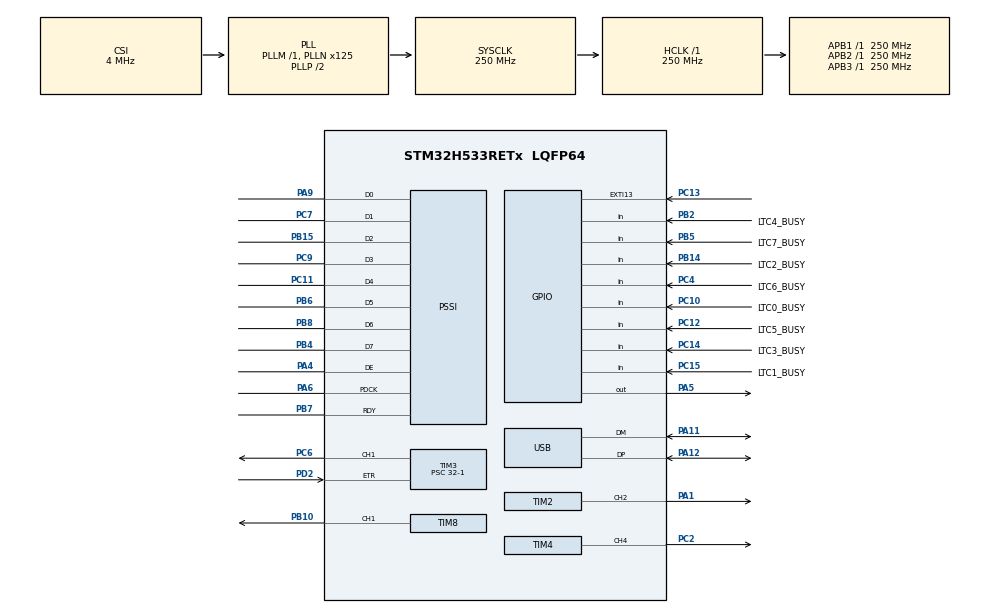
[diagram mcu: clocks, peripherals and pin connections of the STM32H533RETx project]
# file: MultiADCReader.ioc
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BOOTPATH.BootPathName=LEGACY
BOOTPATH.UserSelectedBootPath=LEGACY
CORTEX_M33_NS.userName=CORTEX_M33
GPDMA1.CIRCULARMODE_GPDMACH7=DISABLE
GPDMA1.IPHANDLE_GPDMACH7-SIMPLEREQUEST_GPDMACH7=IPHANDLE
GPDMA1.REQUEST_GPDMACH7=DMA_REQUEST_SW
Mcu.Family=STM32H5
Mcu.Name=STM32H533RETx
Mcu.Package=LQFP64
NVIC.GPDMA1_Channel7_IRQn=true\:0\:0\:false\:false\:true\:false\:true\:true
NVIC.PriorityGroup=NVIC_PRIORITYGROUP_4
NVIC.TIM2_IRQn=true\:0\:0\:false\:false\:true\:true\:true\:true
NVIC.USB_DRD_FS_IRQn=true\:1\:0\:true\:false\:true\:true\:true\:true
PA1.GPIO_Speed=GPIO_SPEED_FREQ_HIGH
PA1.Signal=S_TIM2_CH2
PA11.Mode=Device
PA11.Signal=USB_DM
PA12.Mode=Device
PA12.Signal=USB_DP
PA13(JTMS/SWDIO).GPIO_Label=SWDIO
PA13(JTMS/SWDIO).Signal=DEBUG_JTMS-SWDIO
PA14(JTCK/SWCLK).GPIO_Label=SWCLK
PA14(JTCK/SWCLK).Signal=DEBUG_JTCK-SWCLK
PA15(JTDI).GPIO_Label=JTDI
PA15(JTDI).Signal=DEBUG_JTDI
PA2.Signal=USART2_TX
PA3.Signal=USART2_RX
PA4.Mode=PSSI_8
PA4.Signal=PSSI_DE
PA5.Signal=GPIO_Output
PA6.GPIO_PuPd=GPIO_NOPULL
PA6.GPIO_Speed=GPIO_SPEED_FREQ_VERY_HIGH
PA6.Mode=PSSI_8
PA6.Signal=PSSI_PDCK
PA9.GPIO_Speed=GPIO_SPEED_FREQ_VERY_HIGH
PA9.Mode=PSSI_8
PA9.Signal=PSSI_D0
PB10.GPIO_PuPd=GPIO_NOPULL
PB10.GPIO_Speed=GPIO_SPEED_FREQ_VERY_HIGH
PB10.Signal=S_TIM8_CH1
PB14.GPIO_Label=LTC2_BUSY
PB14.Signal=GPIO_Input
PB15.GPIO_Speed=GPIO_SPEED_FREQ_VERY_HIGH
PB15.Mode=PSSI_8
PB15.Signal=PSSI_D2
PB2.GPIO_Label=LTC4_BUSY
PB2.Signal=GPIO_Input
PB3(JTDO/TRACESWO).GPIO_Label=SWO
PB3(JTDO/TRACESWO).Signal=DEBUG_JTDO-SWO
PB4(NJTRST).GPIO_Speed=GPIO_SPEED_FREQ_VERY_HIGH
PB4(NJTRST).Mode=PSSI_8
PB4(NJTRST).Signal=PSSI_D7
PB5.GPIO_Label=LTC7_BUSY
PB5.Signal=GPIO_Input
PB6.GPIO_FM6=SBS_FASTMODEPLUS_PB6
PB6.GPIO_Speed=GPIO_SPEED_FREQ_VERY_HIGH
PB6.Mode=PSSI_8
PB6.Signal=PSSI_D5
PB7.GPIO_FM7=SBS_FASTMODEPLUS_PB7
PB7.GPIO_Speed=GPIO_SPEED_FREQ_LOW
PB7.Mode=PSSI_8
PB7.Signal=PSSI_RDY
PB8.GPIO_FM8=SBS_FASTMODEPLUS_PB8
PB8.GPIO_Speed=GPIO_SPEED_FREQ_VERY_HIGH
PB8.Mode=PSSI_8
PB8.Signal=PSSI_D6
PC10.GPIO_Label=LTC0_BUSY
PC10.Signal=GPIO_Input
PC11.GPIO_Speed=GPIO_SPEED_FREQ_VERY_HIGH
PC11.Mode=PSSI_8
PC11.Signal=PSSI_D4
PC12.GPIO_Label=LTC5_BUSY
PC12.Signal=GPIO_Input
PC13.Signal=GPXTI13
PC14-OSC32_IN(OSC32_IN).GPIO_Label=LTC3_BUSY
PC14-OSC32_IN(OSC32_IN).Signal=GPIO_Input
PC15-OSC32_OUT(OSC32_OUT).GPIO_Label=LTC1_BUSY
PC15-OSC32_OUT(OSC32_OUT).Signal=GPIO_Input
PC2.Signal=S_TIM4_CH4
PC4.GPIO_Label=LTC6_BUSY
PC4.Signal=GPIO_Input
PC6.Signal=S_TIM3_CH1
PC7.GPIO_Speed=GPIO_SPEED_FREQ_VERY_HIGH
PC7.Mode=PSSI_8
PC7.Signal=PSSI_D1
PC9.GPIO_Speed=GPIO_SPEED_FREQ_VERY_HIGH
PC9.Mode=PSSI_8
PC9.Signal=PSSI_D3
PD2.Signal=S_TIM3_ETR
PSSI.BusWidth=HAL_PSSI_8LINES
ProjectManager.HeapSize=0x200
ProjectManager.StackSize=0x400
ProjectManager.TargetToolchain=STM32CubeIDE
RCC.ADCFreq_Value=250000000
RCC.AHBFreq_Value=250000000
RCC.APB1Freq_Value=250000000
RCC.APB1TimFreq_Value=250000000
RCC.APB2Freq_Value=250000000
RCC.APB2TimFreq_Value=250000000
RCC.APB3Freq_Value=250000000
RCC.CSI_VALUE=4000000
RCC.CortexFreq_Value=250000000
RCC.EPOD_VALUE=4000000
RCC.HCLKFreq_Value=250000000
RCC.HSE_VALUE=25000000
RCC.HSI48_VALUE=48000000
RCC.HSIDiv=RCC_HSI_DIV1
RCC.HSI_VALUE=64000000
RCC.LSE_VALUE=32768
RCC.LSIRC_VALUE=32000
RCC.PLL2FRACN=0
RCC.PLL3FRACN=0
RCC.PLLFRACN=0
RCC.PLLN=125
RCC.SYSCLKFreq_VALUE=250000000
RCC.SYSCLKSource=RCC_SYSCLKSOURCE_PLLCLK
RCC.USBFreq_Value=48000000
RCC.VCOOutputFreq_Value=500000000
SH.S_TIM2_CH2.0=TIM2_CH2,Output Compare2 CH2
SH.S_TIM3_CH1.0=TIM3_CH1,Output Compare1 CH1
SH.S_TIM3_ETR.0=TIM3_ETR,ClockSourceETR_Mode2
SH.S_TIM4_CH4.0=TIM4_CH4,PWM Generation4 CH4
SH.S_TIM8_CH1.0=TIM8_CH1,PWM Generation1 CH1
TIM2.Channel-Output\ Compare2\ CH2=TIM_CHANNEL_2
TIM2.OCMode_2=TIM_OCMODE_RETRIGERRABLE_OPM2
TIM2.PeriodNoDither=250
TIM2.Prescaler=0
TIM2.PulseNoDither_2=125
TIM2.TIM_MasterSlaveMode=TIM_MASTERSLAVEMODE_ENABLE
TIM3.Channel-Output\ Compare1\ CH1=TIM_CHANNEL_1
TIM3.PeriodNoDither=1000-1
TIM3.Prescaler=32-1
TIM3.TIM_MasterOutputTrigger=TIM_TRGO_UPDATE
TIM3.TIM_MasterSlaveMode=TIM_MASTERSLAVEMODE_ENABLE
TIM4.Channel-PWM\ Generation4\ CH4=TIM_CHANNEL_4
TIM4.OCMode_PWM-PWM\ Generation4\ CH4=TIM_OCMODE_PWM2
TIM4.PeriodNoDither=20
TIM4.PulseNoDither_4=1
TIM4.TIM_MasterOutputTrigger=TIM_TRGO_ENABLE
TIM4.TIM_MasterSlaveMode=TIM_MASTERSLAVEMODE_ENABLE
TIM8.Channel-PWM\ Generation1\ CH1=TIM_CHANNEL_1
TIM8.OCIdleState_1=TIM_OCIDLESTATE_SET
TIM8.OCMode_PWM-PWM\ Generation1\ CH1=TIM_OCMODE_PWM1
TIM8.PeriodNoDither=2
TIM8.Prescaler=2
TIM8.PulseNoDither_1=1
TIM8.RepetitionCounter=15
TIM8.TIM_MasterOutputTrigger=TIM_TRGO_ENABLE
TIM8.TIM_MasterOutputTrigger2=TIM_TRGO2_RESET
TIM8.TIM_MasterSlaveMode=TIM_MASTERSLAVEMODE_ENABLE
USB.VirtualMode=Device_Only
USBX.BSP.number=1
USBX.Core_System=1
USBX.USBD_CDCACM_EPIN_ADDR=2
USBX.USBD_CDCACM_EPOUT_ADDR=3
USBX.USBX_DEVICE_SYS_SIZE=10*1024
USBX.UX_DEVICE_APP_MEM_POOL_SIZE_STANDALONE=10*1024
USBX.UX_DEVICE_CDC_ACM=1
USBX.UX_Device_Controller=1
USBX.UX_Device_CoreStack=1
USBX0.BSP.STBoard=false
USBX0.BSP.api=Unknown
USBX0.BSP.instance=USB
USBX0.BSP.ip=USB
USBX0.BSP.mode=Device_Only
USBX0.BSP.name=USB_Device
USBX0.BSP.solution=USB
VP_BOOTPATH_VS_BOOTPATH.Mode=BP_Activate
VP_CORTEX_M33_NS_VS_Hclk.Mode=Hclk_Mode
VP_GPDMA1_VS_GPDMACH7.Mode=SIMPLEREQUEST_GPDMACH7
VP_ICACHE_VS_ENABLE_ICACHE_MEMORY.Mode=Memoryregions
VP_ICACHE_VS_ICACHE.Mode=DirectMappedCache
VP_MEMORYMAP_VS_MEMORYMAP.Mode=CurAppReg
VP_PWR_VS_LPOM.Mode=PowerOptimisation
VP_PWR_VS_SECSignals.Mode=Security/Privilege
VP_RCC_USB.Mode=CRS SYNC Source USB
VP_TIM2_VS_ClockSourceITR.Mode=TriggerSource_ITR2
VP_TIM2_VS_ControllerModeTrigger.Mode=Trigger Mode
VP_TIM2_VS_OPM.Mode=OPM_bit
VP_TIM4_VS_OPM.Mode=OPM_bit
VP_TIM8_VS_ClockSourceITR.Mode=TriggerSource_ITR3
VP_TIM8_VS_ControllerModeTrigger.Mode=Trigger Mode
VP_TIM8_VS_OPM.Mode=OPM_bit
VP_USBX_Core_System.Mode=Core_System
VP_USBX_UX\ Device\ CDC\ ACM\ Class_FS.Mode=UX_Device_class_CDC_ACM_FS
VP_USBX_UX\ Device\ Controller_FS.Mode=UX_Device_Controller_FS
VP_USBX_UX\ Device\ CoreStack_FS.Mode=UX_Device_CoreStack_FS
board=NUCLEO-H533RE

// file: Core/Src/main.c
/* USER CODE BEGIN Header */
/**
  ******************************************************************************
  * @file           : main.c
  * @brief          : Main program body
  ******************************************************************************
  * @attention
  *
  * Copyright (c) 2025 STMicroelectronics.
  * All rights reserved.
  *
  * This software is licensed under terms that can be found in the LICENSE file
  * in the root directory of this software component.
  * If no LICENSE file comes with this software, it is provided AS-IS.
  *
  ******************************************************************************
  */
/* USER CODE END Header */
#include "main.h"
#include "app_usbx_device.h"

/* USER CODE BEGIN Includes */
#include "ringbuffer.h"
#include "adc_cli.h"     // jeśli chcesz kierować RX do parsera
#include "ux_device_cdc_acm.h"
#include "ux_api.h"
/* USER CODE END Includes */

DMA_HandleTypeDef handle_GPDMA1_Channel7;

PSSI_HandleTypeDef hpssi;

TIM_HandleTypeDef htim2;
TIM_HandleTypeDef htim3;
TIM_HandleTypeDef htim4;
TIM_HandleTypeDef htim8;

PCD_HandleTypeDef hpcd_USB_DRD_FS;

/* USER CODE BEGIN PV */
__attribute__((section(".dma_llist"), aligned(4096))) DMA_Node ch7_lli[4];

uint32_t *node = (uint32_t*)ch7_lli;

uint32_t buffer[BUFFER_SIZE];
uint16_t adc_buffer[ADC_BUFFER_SIZE];
uint8_t usb_buffer[USB_BUFFER_SIZE];
uint32_t received = 0;

extern RingBuffer rb_tx;
extern RingBuffer rb_rx;

uint8_t rb_tx_buf[4*MAX_BUFFER_SIZE];
uint8_t rb_rx_buf[128];

extern bool data_collected;
extern ADC_Handler g_adc;
extern ADC_Handler * const g_adc_mgr;
/* USER CODE END PV */

void SystemClock_Config(void);
static void MX_GPIO_Init(void);
static void MX_GPDMA1_Init(void);
static void MX_ICACHE_Init(void);
static void MX_TIM2_Init(void);
static void MX_TIM3_Init(void);
static void MX_TIM4_Init(void);
static void MX_TIM8_Init(void);
/* USER CODE BEGIN PFP */
AT_StatusTypeDef USB_Write(const char* buf, size_t len);
void App_ADC_Init(void);
/* USER CODE END PFP */

int main(void)
{

  /* MCU Configuration--------------------------------------------------------*/

  /* Reset of all peripherals, Initializes the Flash interface and the Systick. */
  HAL_Init();

  /* Configure the system clock */
  SystemClock_Config();

  /* Initialize all configured peripherals */
  MX_GPIO_Init();
  MX_GPDMA1_Init();
//  MX_PSSI_Init();
  MX_ICACHE_Init();
  MX_TIM2_Init();
  MX_TIM3_Init();
  MX_TIM4_Init();
  MX_TIM8_Init();
  MX_USBX_Device_Init();
  /* USER CODE BEGIN 2 */
  MX_USB_PCD_Init();
  App_ADC_Init();
  /* USER CODE END 2 */

  /* Infinite loop */
  /* USER CODE BEGIN WHILE */
  while (1)
  {
	ux_device_stack_tasks_run();
	USBD_CDC_ACM_Receive(usb_buffer, USB_BUFFER_SIZE, &received);
	ADC_Acquire(g_adc_mgr);
    /* USER CODE END WHILE */

  }
}

void SystemClock_Config(void)
{
  RCC_OscInitTypeDef RCC_OscInitStruct = {0};
  RCC_ClkInitTypeDef RCC_ClkInitStruct = {0};
  RCC_CRSInitTypeDef RCC_CRSInitStruct = {0};

  /** Configure the main internal regulator output voltage
  */
  __HAL_PWR_VOLTAGESCALING_CONFIG(PWR_REGULATOR_VOLTAGE_SCALE0);

  while(!__HAL_PWR_GET_FLAG(PWR_FLAG_VOSRDY)) {}

  /** Initializes the RCC Oscillators according to the specified parameters
  * in the RCC_OscInitTypeDef structure.
  */
  RCC_OscInitStruct.OscillatorType = RCC_OSCILLATORTYPE_HSI48|RCC_OSCILLATORTYPE_CSI;
  RCC_OscInitStruct.HSI48State = RCC_HSI48_ON;
  RCC_OscInitStruct.CSIState = RCC_CSI_ON;
  RCC_OscInitStruct.CSICalibrationValue = RCC_CSICALIBRATION_DEFAULT;
  RCC_OscInitStruct.PLL.PLLState = RCC_PLL_ON;
  RCC_OscInitStruct.PLL.PLLSource = RCC_PLL1_SOURCE_CSI;
  RCC_OscInitStruct.PLL.PLLM = 1;
  RCC_OscInitStruct.PLL.PLLN = 125;
  RCC_OscInitStruct.PLL.PLLP = 2;
  RCC_OscInitStruct.PLL.PLLQ = 2;
  RCC_OscInitStruct.PLL.PLLR = 2;
  RCC_OscInitStruct.PLL.PLLRGE = RCC_PLL1_VCIRANGE_2;
  RCC_OscInitStruct.PLL.PLLVCOSEL = RCC_PLL1_VCORANGE_WIDE;
  RCC_OscInitStruct.PLL.PLLFRACN = 0;
  if (HAL_RCC_OscConfig(&RCC_OscInitStruct) != HAL_OK)
  {
    Error_Handler();
  }

  /** Initializes the CPU, AHB and APB buses clocks
  */
  RCC_ClkInitStruct.ClockType = RCC_CLOCKTYPE_HCLK|RCC_CLOCKTYPE_SYSCLK
                              |RCC_CLOCKTYPE_PCLK1|RCC_CLOCKTYPE_PCLK2
                              |RCC_CLOCKTYPE_PCLK3;
  RCC_ClkInitStruct.SYSCLKSource = RCC_SYSCLKSOURCE_PLLCLK;
  RCC_ClkInitStruct.AHBCLKDivider = RCC_SYSCLK_DIV1;
  RCC_ClkInitStruct.APB1CLKDivider = RCC_HCLK_DIV1;
  RCC_ClkInitStruct.APB2CLKDivider = RCC_HCLK_DIV1;
  RCC_ClkInitStruct.APB3CLKDivider = RCC_HCLK_DIV1;

  if (HAL_RCC_ClockConfig(&RCC_ClkInitStruct, FLASH_LATENCY_5) != HAL_OK)
  {
    Error_Handler();
  }

  /** Enable the CRS APB clock
  */
  __HAL_RCC_CRS_CLK_ENABLE();

  /** Configures CRS
  */
  RCC_CRSInitStruct.Prescaler = RCC_CRS_SYNC_DIV1;
  RCC_CRSInitStruct.Source = RCC_CRS_SYNC_SOURCE_USB;
  RCC_CRSInitStruct.Polarity = RCC_CRS_SYNC_POLARITY_RISING;
  RCC_CRSInitStruct.ReloadValue = __HAL_RCC_CRS_RELOADVALUE_CALCULATE(48000000,1000);
  RCC_CRSInitStruct.ErrorLimitValue = 34;
  RCC_CRSInitStruct.HSI48CalibrationValue = 32;

  HAL_RCCEx_CRSConfig(&RCC_CRSInitStruct);

  /** Configure the programming delay
  */
  __HAL_FLASH_SET_PROGRAM_DELAY(FLASH_PROGRAMMING_DELAY_2);
}

static void MX_GPDMA1_Init(void)
{

  /* Peripheral clock enable */
  __HAL_RCC_GPDMA1_CLK_ENABLE();

  /* GPDMA1 interrupt Init */
    HAL_NVIC_SetPriority(GPDMA1_Channel7_IRQn, 0, 0);
    HAL_NVIC_EnableIRQ(GPDMA1_Channel7_IRQn);

  handle_GPDMA1_Channel7.Instance = GPDMA1_Channel7;
  handle_GPDMA1_Channel7.Init.Request = DMA_REQUEST_SW;
  handle_GPDMA1_Channel7.Init.BlkHWRequest = DMA_BREQ_SINGLE_BURST;
  handle_GPDMA1_Channel7.Init.Direction = DMA_MEMORY_TO_MEMORY;
  handle_GPDMA1_Channel7.Init.SrcInc = DMA_SINC_FIXED;
  handle_GPDMA1_Channel7.Init.DestInc = DMA_DINC_FIXED;
  handle_GPDMA1_Channel7.Init.SrcDataWidth = DMA_SRC_DATAWIDTH_BYTE;
  handle_GPDMA1_Channel7.Init.DestDataWidth = DMA_DEST_DATAWIDTH_BYTE;
  handle_GPDMA1_Channel7.Init.Priority = DMA_LOW_PRIORITY_LOW_WEIGHT;
  handle_GPDMA1_Channel7.Init.SrcBurstLength = 1;
  handle_GPDMA1_Channel7.Init.DestBurstLength = 1;
  handle_GPDMA1_Channel7.Init.TransferAllocatedPort = DMA_SRC_ALLOCATED_PORT0|DMA_DEST_ALLOCATED_PORT0;
  handle_GPDMA1_Channel7.Init.TransferEventMode = DMA_TCEM_BLOCK_TRANSFER;
  handle_GPDMA1_Channel7.Init.Mode = DMA_NORMAL;
  if (HAL_DMA_Init(&handle_GPDMA1_Channel7) != HAL_OK)
  {
    Error_Handler();
  }
  if (HAL_DMA_ConfigChannelAttributes(&handle_GPDMA1_Channel7, DMA_CHANNEL_NPRIV) != HAL_OK)
  {
    Error_Handler();
  }

}

static void MX_ICACHE_Init(void)
{

  /** Enable instruction cache in 1-way (direct mapped cache)
  */
  if (HAL_ICACHE_ConfigAssociativityMode(ICACHE_1WAY) != HAL_OK)
  {
    Error_Handler();
  }
  if (HAL_ICACHE_Enable() != HAL_OK)
  {
    Error_Handler();
  }

}

static void MX_TIM2_Init(void)
{

  TIM_SlaveConfigTypeDef sSlaveConfig = {0};
  TIM_MasterConfigTypeDef sMasterConfig = {0};
  TIM_OC_InitTypeDef sConfigOC = {0};

  htim2.Instance = TIM2;
  htim2.Init.Prescaler = 0;
  htim2.Init.CounterMode = TIM_COUNTERMODE_UP;
  htim2.Init.Period = 250;
  htim2.Init.ClockDivision = TIM_CLOCKDIVISION_DIV1;
  htim2.Init.AutoReloadPreload = TIM_AUTORELOAD_PRELOAD_DISABLE;
  if (HAL_TIM_Base_Init(&htim2) != HAL_OK)
  {
    Error_Handler();
  }
  if (HAL_TIM_OC_Init(&htim2) != HAL_OK)
  {
    Error_Handler();
  }
  if (HAL_TIM_OnePulse_Init(&htim2, TIM_OPMODE_SINGLE) != HAL_OK)
  {
    Error_Handler();
  }
  sSlaveConfig.SlaveMode = TIM_SLAVEMODE_TRIGGER;
  sSlaveConfig.InputTrigger = TIM_TS_ITR2;
  if (HAL_TIM_SlaveConfigSynchro(&htim2, &sSlaveConfig) != HAL_OK)
  {
    Error_Handler();
  }
  sMasterConfig.MasterOutputTrigger = TIM_TRGO_RESET;
  sMasterConfig.MasterSlaveMode = TIM_MASTERSLAVEMODE_ENABLE;
  if (HAL_TIMEx_MasterConfigSynchronization(&htim2, &sMasterConfig) != HAL_OK)
  {
    Error_Handler();
  }
  sConfigOC.OCMode = TIM_OCMODE_RETRIGERRABLE_OPM2;
  sConfigOC.Pulse = 125;
  sConfigOC.OCPolarity = TIM_OCPOLARITY_HIGH;
  sConfigOC.OCFastMode = TIM_OCFAST_DISABLE;
  if (HAL_TIM_OC_ConfigChannel(&htim2, &sConfigOC, TIM_CHANNEL_2) != HAL_OK)
  {
    Error_Handler();
  }
  HAL_TIM_MspPostInit(&htim2);

}

static void MX_TIM3_Init(void)
{

  TIM_ClockConfigTypeDef sClockSourceConfig = {0};
  TIM_MasterConfigTypeDef sMasterConfig = {0};
  TIM_OC_InitTypeDef sConfigOC = {0};

  htim3.Instance = TIM3;
  htim3.Init.Prescaler = 32-1;
  htim3.Init.CounterMode = TIM_COUNTERMODE_UP;
  htim3.Init.Period = 999;
  htim3.Init.ClockDivision = TIM_CLOCKDIVISION_DIV1;
  htim3.Init.AutoReloadPreload = TIM_AUTORELOAD_PRELOAD_DISABLE;
  if (HAL_TIM_Base_Init(&htim3) != HAL_OK)
  {
    Error_Handler();
  }
  sClockSourceConfig.ClockSource = TIM_CLOCKSOURCE_ETRMODE2;
  sClockSourceConfig.ClockPolarity = TIM_CLOCKPOLARITY_NONINVERTED;
  sClockSourceConfig.ClockPrescaler = TIM_CLOCKPRESCALER_DIV1;
  sClockSourceConfig.ClockFilter = 0;
  if (HAL_TIM_ConfigClockSource(&htim3, &sClockSourceConfig) != HAL_OK)
  {
    Error_Handler();
  }
  if (HAL_TIM_OC_Init(&htim3) != HAL_OK)
  {
    Error_Handler();
  }
  sMasterConfig.MasterOutputTrigger = TIM_TRGO_UPDATE;
  sMasterConfig.MasterSlaveMode = TIM_MASTERSLAVEMODE_ENABLE;
  if (HAL_TIMEx_MasterConfigSynchronization(&htim3, &sMasterConfig) != HAL_OK)
  {
    Error_Handler();
  }
  sConfigOC.OCMode = TIM_OCMODE_TIMING;
  sConfigOC.Pulse = 0;
  sConfigOC.OCPolarity = TIM_OCPOLARITY_HIGH;
  sConfigOC.OCFastMode = TIM_OCFAST_DISABLE;
  if (HAL_TIM_OC_ConfigChannel(&htim3, &sConfigOC, TIM_CHANNEL_1) != HAL_OK)
  {
    Error_Handler();
  }
  HAL_TIM_MspPostInit(&htim3);

}

static void MX_TIM4_Init(void)
{

  TIM_MasterConfigTypeDef sMasterConfig = {0};
  TIM_OC_InitTypeDef sConfigOC = {0};

  htim4.Instance = TIM4;
  htim4.Init.Prescaler = 0;
  htim4.Init.CounterMode = TIM_COUNTERMODE_UP;
  htim4.Init.Period = 20;
  htim4.Init.ClockDivision = TIM_CLOCKDIVISION_DIV1;
  htim4.Init.AutoReloadPreload = TIM_AUTORELOAD_PRELOAD_DISABLE;
  if (HAL_TIM_PWM_Init(&htim4) != HAL_OK)
  {
    Error_Handler();
  }
  if (HAL_TIM_OnePulse_Init(&htim4, TIM_OPMODE_SINGLE) != HAL_OK)
  {
    Error_Handler();
  }
  sMasterConfig.MasterOutputTrigger = TIM_TRGO_ENABLE;
  sMasterConfig.MasterSlaveMode = TIM_MASTERSLAVEMODE_ENABLE;
  if (HAL_TIMEx_MasterConfigSynchronization(&htim4, &sMasterConfig) != HAL_OK)
  {
    Error_Handler();
  }
  sConfigOC.OCMode = TIM_OCMODE_PWM2;
  sConfigOC.Pulse = 1;
  sConfigOC.OCPolarity = TIM_OCPOLARITY_HIGH;
  sConfigOC.OCFastMode = TIM_OCFAST_DISABLE;
  if (HAL_TIM_PWM_ConfigChannel(&htim4, &sConfigOC, TIM_CHANNEL_4) != HAL_OK)
  {
    Error_Handler();
  }
  HAL_TIM_MspPostInit(&htim4);

}

static void MX_TIM8_Init(void)
{

  TIM_SlaveConfigTypeDef sSlaveConfig = {0};
  TIM_MasterConfigTypeDef sMasterConfig = {0};
  TIM_OC_InitTypeDef sConfigOC = {0};
  TIM_BreakDeadTimeConfigTypeDef sBreakDeadTimeConfig = {0};

  htim8.Instance = TIM8;
  htim8.Init.Prescaler = 2;
  htim8.Init.CounterMode = TIM_COUNTERMODE_UP;
  htim8.Init.Period = 2;
  htim8.Init.ClockDivision = TIM_CLOCKDIVISION_DIV1;
  htim8.Init.RepetitionCounter = 15;
  htim8.Init.AutoReloadPreload = TIM_AUTORELOAD_PRELOAD_DISABLE;
  if (HAL_TIM_Base_Init(&htim8) != HAL_OK)
  {
    Error_Handler();
  }
  if (HAL_TIM_PWM_Init(&htim8) != HAL_OK)
  {
    Error_Handler();
  }
  if (HAL_TIM_OnePulse_Init(&htim8, TIM_OPMODE_SINGLE) != HAL_OK)
  {
    Error_Handler();
  }
  sSlaveConfig.SlaveMode = TIM_SLAVEMODE_TRIGGER;
  sSlaveConfig.InputTrigger = TIM_TS_ITR3;
  if (HAL_TIM_SlaveConfigSynchro(&htim8, &sSlaveConfig) != HAL_OK)
  {
    Error_Handler();
  }
  sMasterConfig.MasterOutputTrigger = TIM_TRGO_ENABLE;
  sMasterConfig.MasterOutputTrigger2 = TIM_TRGO2_RESET;
  sMasterConfig.MasterSlaveMode = TIM_MASTERSLAVEMODE_ENABLE;
  if (HAL_TIMEx_MasterConfigSynchronization(&htim8, &sMasterConfig) != HAL_OK)
  {
    Error_Handler();
  }
  sConfigOC.OCMode = TIM_OCMODE_PWM1;
  sConfigOC.Pulse = 1;
  sConfigOC.OCPolarity = TIM_OCPOLARITY_HIGH;
  sConfigOC.OCNPolarity = TIM_OCNPOLARITY_HIGH;
  sConfigOC.OCFastMode = TIM_OCFAST_DISABLE;
  sConfigOC.OCIdleState = TIM_OCIDLESTATE_SET;
  sConfigOC.OCNIdleState = TIM_OCNIDLESTATE_RESET;
  if (HAL_TIM_PWM_ConfigChannel(&htim8, &sConfigOC, TIM_CHANNEL_1) != HAL_OK)
  {
    Error_Handler();
  }
  sBreakDeadTimeConfig.OffStateRunMode = TIM_OSSR_DISABLE;
  sBreakDeadTimeConfig.OffStateIDLEMode = TIM_OSSI_DISABLE;
  sBreakDeadTimeConfig.LockLevel = TIM_LOCKLEVEL_OFF;
  sBreakDeadTimeConfig.DeadTime = 0;
  sBreakDeadTimeConfig.BreakState = TIM_BREAK_DISABLE;
  sBreakDeadTimeConfig.BreakPolarity = TIM_BREAKPOLARITY_HIGH;
  sBreakDeadTimeConfig.BreakFilter = 0;
  sBreakDeadTimeConfig.BreakAFMode = TIM_BREAK_AFMODE_INPUT;
  sBreakDeadTimeConfig.Break2State = TIM_BREAK2_DISABLE;
  sBreakDeadTimeConfig.Break2Polarity = TIM_BREAK2POLARITY_HIGH;
  sBreakDeadTimeConfig.Break2Filter = 0;
  sBreakDeadTimeConfig.Break2AFMode = TIM_BREAK_AFMODE_INPUT;
  sBreakDeadTimeConfig.AutomaticOutput = TIM_AUTOMATICOUTPUT_DISABLE;
  if (HAL_TIMEx_ConfigBreakDeadTime(&htim8, &sBreakDeadTimeConfig) != HAL_OK)
  {
    Error_Handler();
  }
  HAL_TIM_MspPostInit(&htim8);

}

void MX_USB_PCD_Init(void)
{

  hpcd_USB_DRD_FS.Instance = USB_DRD_FS;
  hpcd_USB_DRD_FS.Init.dev_endpoints = 8;
  hpcd_USB_DRD_FS.Init.speed = USBD_FS_SPEED;
  hpcd_USB_DRD_FS.Init.phy_itface = PCD_PHY_EMBEDDED;
  hpcd_USB_DRD_FS.Init.Sof_enable = DISABLE;
  hpcd_USB_DRD_FS.Init.low_power_enable = DISABLE;
  hpcd_USB_DRD_FS.Init.lpm_enable = DISABLE;
  hpcd_USB_DRD_FS.Init.battery_charging_enable = DISABLE;
  hpcd_USB_DRD_FS.Init.vbus_sensing_enable = DISABLE;
  hpcd_USB_DRD_FS.Init.bulk_doublebuffer_enable = DISABLE;
  hpcd_USB_DRD_FS.Init.iso_singlebuffer_enable = DISABLE;
  if (HAL_PCD_Init(&hpcd_USB_DRD_FS) != HAL_OK)
  {
    Error_Handler();
  }
  /* USER CODE BEGIN USB_Init 2 */
  HAL_PCDEx_PMAConfig(&hpcd_USB_DRD_FS , 0x00 , PCD_SNG_BUF, 0x20);//EP0 OUT
  HAL_PCDEx_PMAConfig(&hpcd_USB_DRD_FS , 0x80 , PCD_SNG_BUF, 0x60);//EP0 IN
  HAL_PCDEx_PMAConfig(&hpcd_USB_DRD_FS , 0x81 , PCD_SNG_BUF, 0xA0);//EP1 IN
  HAL_PCDEx_PMAConfig(&hpcd_USB_DRD_FS , 0x82 , PCD_SNG_BUF, 0xE0);//EP2 IN
  HAL_PCDEx_PMAConfig(&hpcd_USB_DRD_FS , 0x03 , PCD_SNG_BUF, 0xF0);//EP3 OUT

  _ux_dcd_stm32_initialize((ULONG)NULL, (ULONG)&hpcd_USB_DRD_FS);
  /* Manually clearing SOF interrupt, to reduce unnecessary interupts handle*/
  hpcd_USB_DRD_FS.Instance->CNTR &= ~(1u<<9);
  HAL_PCD_Start(&hpcd_USB_DRD_FS);
  /* USER CODE END USB_Init 2 */

}

static void MX_GPIO_Init(void)
{
  GPIO_InitTypeDef GPIO_InitStruct = {0};

  /* GPIO Ports Clock Enable */
  __HAL_RCC_GPIOC_CLK_ENABLE();
  __HAL_RCC_GPIOA_CLK_ENABLE();
  __HAL_RCC_GPIOB_CLK_ENABLE();
  __HAL_RCC_GPIOD_CLK_ENABLE();

  /*Configure GPIO pin Output Level */
  HAL_GPIO_WritePin(GPIOA, GPIO_PIN_5, GPIO_PIN_RESET);

  /*Configure GPIO pin : PC13 */
  GPIO_InitStruct.Pin = GPIO_PIN_13;
  GPIO_InitStruct.Mode = GPIO_MODE_IT_RISING;
  GPIO_InitStruct.Pull = GPIO_NOPULL;
  HAL_GPIO_Init(GPIOC, &GPIO_InitStruct);

  /*Configure GPIO pins : LTC3_BUSY_Pin LTC1_BUSY_Pin LTC6_BUSY_Pin LTC0_BUSY_Pin
                           LTC5_BUSY_Pin */
  GPIO_InitStruct.Pin = LTC3_BUSY_Pin|LTC1_BUSY_Pin|LTC6_BUSY_Pin|LTC0_BUSY_Pin
                          |LTC5_BUSY_Pin;
  GPIO_InitStruct.Mode = GPIO_MODE_INPUT;
  GPIO_InitStruct.Pull = GPIO_NOPULL;
  HAL_GPIO_Init(GPIOC, &GPIO_InitStruct);

  /*Configure GPIO pins : PA2 PA3 */
  GPIO_InitStruct.Pin = GPIO_PIN_2|GPIO_PIN_3;
  GPIO_InitStruct.Mode = GPIO_MODE_AF_PP;
  GPIO_InitStruct.Pull = GPIO_NOPULL;
  GPIO_InitStruct.Speed = GPIO_SPEED_FREQ_LOW;
  GPIO_InitStruct.Alternate = GPIO_AF7_USART2;
  HAL_GPIO_Init(GPIOA, &GPIO_InitStruct);

  /*Configure GPIO pin : PA5 */
  GPIO_InitStruct.Pin = GPIO_PIN_5;
  GPIO_InitStruct.Mode = GPIO_MODE_OUTPUT_PP;
  GPIO_InitStruct.Pull = GPIO_NOPULL;
  GPIO_InitStruct.Speed = GPIO_SPEED_FREQ_LOW;
  HAL_GPIO_Init(GPIOA, &GPIO_InitStruct);

  /*Configure GPIO pins : LTC4_BUSY_Pin LTC2_BUSY_Pin LTC7_BUSY_Pin */
  GPIO_InitStruct.Pin = LTC4_BUSY_Pin|LTC2_BUSY_Pin|LTC7_BUSY_Pin;
  GPIO_InitStruct.Mode = GPIO_MODE_INPUT;
  GPIO_InitStruct.Pull = GPIO_NOPULL;
  HAL_GPIO_Init(GPIOB, &GPIO_InitStruct);

}

/* USER CODE BEGIN 4 */
AT_StatusTypeDef USB_Write(const char* buf, size_t len){
	if (!len) {
		USB_TxZLP();
		return AT_OK;
	}
    size_t n = RingBuffer_WriteString(&rb_tx, buf, len);
    uint32_t packets = 0;
    //Poking TxPump to start transmission
    while (USB_TxPumpFromRing(&rb_tx) != 0) packets++;
    return (n == len) ? AT_OK : AT_ERROR;
}

void App_ADC_Init(void)
{
    GPIO_Assignment busy_pins[MAX_DEVICES] = {
		{ LTC0_BUSY_GPIO_Port, LTC0_BUSY_Pin },  // dev 0
        { LTC1_BUSY_GPIO_Port, LTC1_BUSY_Pin },  // dev 1
        { LTC2_BUSY_GPIO_Port, LTC2_BUSY_Pin },  // dev 2
        { LTC3_BUSY_GPIO_Port, LTC3_BUSY_Pin },  // dev 3
		{ LTC4_BUSY_GPIO_Port, LTC4_BUSY_Pin },  // dev 4
		{ LTC5_BUSY_GPIO_Port, LTC5_BUSY_Pin },  // dev 5
		{ LTC6_BUSY_GPIO_Port, LTC6_BUSY_Pin },  // dev 6
		{ LTC7_BUSY_GPIO_Port, LTC7_BUSY_Pin },  // dev 7
    };

    /* Adds writing function to AT_CtxT struct */
    AT_Init(USB_Write, NULL);
    /* Initialise usb receive ring buffer of size 128 */
    RingBuffer_Init(&rb_rx, rb_rx_buf, 128);
    /* Initialise usb transmit ring buffer of size 4*128 */
    RingBuffer_Init(&rb_tx, rb_tx_buf, 4*MAX_BUFFER_SIZE);
    /* Initialise available commands to parse by AT Parser */
    ADC_CommandInit();
    /* Initialise LTC2368_SamplingClock timers */
    LTC2368_Init(&g_adc.clock_handler, (&htim3)->Instance, TIM_CHANNEL_1, (&htim2)->Instance, TIM_CHANNEL_2, (&htim4)->Instance, TIM_CHANNEL_4, (&htim8)->Instance, TIM_CHANNEL_1);
    /* Initialise ADC Handler structure */
    if (!ADC_Init(&g_adc, ch7_lli, GPDMA1_Channel7_NS, buffer, busy_pins, USB_Write, NULL)) {
        Error_Handler();
    }
    /* Prepare timers' channels to work */
    LTC2368_ArmTimers(&g_adc_mgr->clock_handler);
    /* Select sampling reference source */
    LTC2368_SelectSource(&g_adc_mgr->clock_handler, SYSTEM_FREQ);
}
/* USER CODE END 4 */

void Error_Handler(void)
{
  __disable_irq();
  while (1)
  {
  }
}
